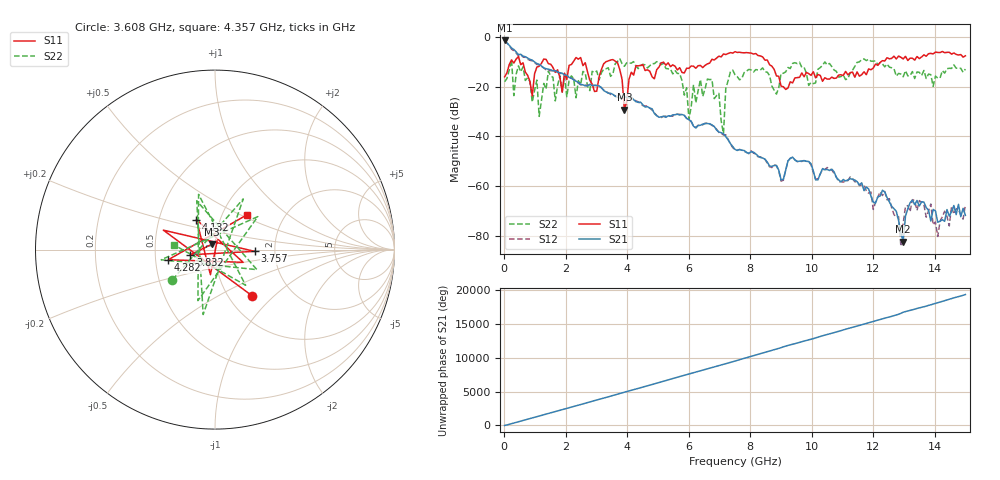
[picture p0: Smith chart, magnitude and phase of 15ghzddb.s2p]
#  HZ  S  DB  R  50.00
! Rohde & Schwarz Vector Network Analyzer
! Rohde-Schwarz,ZNA43-2Port,1332450042101266,2.10
! Created: UTC 11/25/2021, 10:03:43 AM
! freq[Hz]  db:S11  ang:S11  db:S21  ang:S21  db:S12  ang:S12  db:S22  ang:S22
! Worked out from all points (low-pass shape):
!   201 points, 10 MHz to 15 GHz, reference 50 ohm
!   highest |S21| = -1.34 dB at 10 MHz (marker M1); lowest = -82.3 dB at 12.98 GHz (marker M2)
!   |S21| within 3 dB of the highest: start of sweep to 231.6 MHz
!   lowest |S11| = -29.2 dB at 3.907 GHz (marker M3), VSWR 1.07, Z = 48.1 + j2.85 ohm
!   |S11| at or under -10 dB: 1.404 GHz to 2.24 GHz (835.3 MHz wide, 45.8 % of centre); 3.653 GHz to 6.702 GHz (3.049 GHz wide, 58.9 % of centre); 8.586 GHz to 12.25 GHz (3.661 GHz wide, 35.1 % of centre) (the widest 3 of 7)
!   |S22| runs from -38.8 to -8.7 dB; largest |S21 - S12| = 0.04
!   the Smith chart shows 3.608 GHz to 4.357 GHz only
!   S11 on the Smith chart (normalised r, x): 3.608 GHz: 1.28, -0.74; 3.757 GHz: 1.57, -0.03; 3.832 GHz: 0.76, -0.04; 4.132 GHz: 0.77, +0.27; 4.282 GHz: 0.58, -0.07; 4.357 GHz: 1.31, +0.54
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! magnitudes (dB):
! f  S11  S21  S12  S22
! 10 MHz  -16.0  -1.3  -1.4  -17.9
! 1.059 GHz  -12.1  -10.6  -11.0  -17.3
! 1.134 GHz  -11.7  -11.0  -11.1  -31.9
! 1.434 GHz  -10.7  -12.9  -13.3  -13.6
! 2.558 GHz  -11.5  -19.2  -19.2  -13.8
! 3.608 GHz  -9.6  -23.8  -23.7  -10.7
! 3.757 GHz  -13.1  -24.6  -24.7  -8.7
! 3.832 GHz  -17.1  -24.2  -24.5  -10.7
! 3.907 GHz  -29.2  -23.9  -23.8  -11.7
! 4.132 GHz  -14.1  -24.1  -24.7  -10.5
! 4.282 GHz  -11.5  -26.0  -25.6  -11.6
! 4.357 GHz  -11.6  -26.3  -26.0  -12.7
! 5.032 GHz  -12.0  -32.2  -32.2  -10.0
! 6.006 GHz  -12.6  -33.2  -33.3  -33.1
! 6.755 GHz  -8.9  -35.3  -35.5  -17.0
! 7.13 GHz  -6.8  -39.0  -39.4  -38.8
! 7.205 GHz  -7.0  -40.0  -39.3  -20.7
! 7.505 GHz  -5.9  -45.2  -45.3  -15.1
! 10.05 GHz  -13.9  -53.9  -54.4  -18.7
! 12.53 GHz  -8.7  -66.3  -65.0  -12.1
! 12.98 GHz  -8.8  -82.3  -75.0  -16.0
! 15 GHz  -7.5  -71.7  -67.4  -12.9
